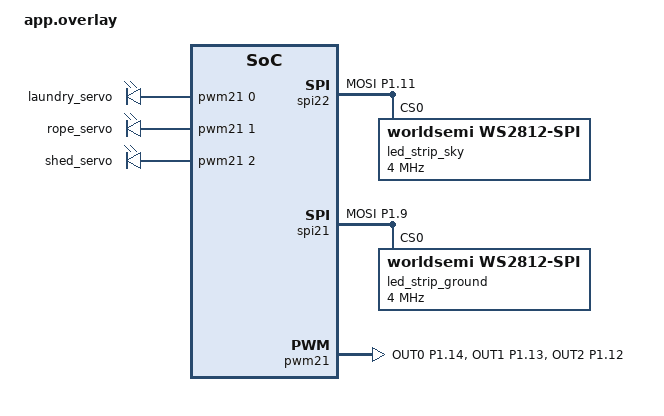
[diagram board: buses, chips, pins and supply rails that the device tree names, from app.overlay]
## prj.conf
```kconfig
CONFIG_GPIO=y

CONFIG_SPI=y
CONFIG_LED_STRIP=y

CONFIG_SERIAL=y
CONFIG_CONSOLE=y
CONFIG_UART_CONSOLE=y
CONFIG_STDOUT_CONSOLE=y
CONFIG_CONSOLE_SUBSYS=y
CONFIG_CONSOLE_GETLINE=y

CONFIG_ENTROPY_GENERATOR=y
CONFIG_TEST_RANDOM_GENERATOR=y

CONFIG_PWM=y
```

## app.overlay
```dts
#include <zephyr/dt-bindings/led/led.h>

&pinctrl {
    spi22_default: spi22_default {
        group1 {
            psels = <NRF_PSEL(SPIM_MOSI, 1, 11)>;
        };
    };

    spi21_default: spi21_default {
        group1 {
            psels = <NRF_PSEL(SPIM_MOSI, 1, 9)>;
        };
    };

    pwm21_default: pwm21_default {
        group1 {
            psels = <NRF_PSEL(PWM_OUT0, 1, 14)>,
                    <NRF_PSEL(PWM_OUT1, 1, 13)>,
                    <NRF_PSEL(PWM_OUT2, 1, 12)>;
        };
    };
};

&spi22 {
    compatible = "nordic,nrf-spim";
    status = "okay";
    pinctrl-0 = <&spi22_default>;
    pinctrl-names = "default";

    led_strip_sky: ws2812@0 {
        compatible = "worldsemi,ws2812-spi";
        reg = <0>;
        spi-max-frequency = <4000000>;
        chain-length = <21>;
        spi-one-frame = <0x70>;
        spi-zero-frame = <0x40>;
        color-mapping = <LED_COLOR_ID_GREEN
        LED_COLOR_ID_RED
        LED_COLOR_ID_BLUE>;
    };
};

&spi21 {
    compatible = "nordic,nrf-spim";
    status = "okay";
    pinctrl-0 = <&spi21_default>;
    pinctrl-names = "default";

    led_strip_ground: ws2812@0 {
        compatible = "worldsemi,ws2812-spi";
        reg = <0>;
        spi-max-frequency = <4000000>;
        chain-length = <30>;
        spi-one-frame = <0x70>;
        spi-zero-frame = <0x40>;
        color-mapping = <LED_COLOR_ID_GREEN
                         LED_COLOR_ID_RED
                         LED_COLOR_ID_BLUE>;
    };
};

&pwm21 {
    status = "okay";
    pinctrl-0 = <&pwm21_default>;
    pinctrl-names = "default";
};

/ {
    pwm_devices {
        compatible = "pwm-leds";

        laundry_servo: laundry_servo {
            pwms = <&pwm21 0 PWM_MSEC(20) PWM_POLARITY_NORMAL>;
        };
        rope_servo: rope_servo {
            pwms = <&pwm21 1 PWM_MSEC(20) PWM_POLARITY_NORMAL>;
        };
        shed_servo: shed_servo {
            pwms = <&pwm21 2 PWM_MSEC(20) PWM_POLARITY_NORMAL>;
        };
    };

    aliases {
        led-strip-sky = &led_strip_sky;
        led-strip-ground = &led_strip_ground;
        laundry-servo = &laundry_servo;
        rope-servo = &rope_servo;
        shed-servo = &shed_servo;
    };
};
```

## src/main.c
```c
#include <zephyr/kernel.h>
#include <zephyr/drivers/led_strip.h>
#include <zephyr/drivers/pwm.h>
#include <zephyr/console/console.h>
#include <zephyr/random/random.h>
#include <string.h>
#include <stdio.h>
#include <ctype.h>
#include <math.h>

#define STRIP_NODE DT_ALIAS(led_strip_sky)
#define STRIP_NUM_LEDS 21
#define NUM_CLOUDS 19
#define SUN_START_IDX 19
#define GROUND_STRIP_NODE DT_ALIAS(led_strip_ground)
#define GROUND_STRIP_NUM_LEDS 30
#define GROUND_PATH_LEDS 15
#define GROUND_SEA_LEDS 15
#define GROUND_TOTAL_LEDS (GROUND_PATH_LEDS + GROUND_SEA_LEDS)

static const struct pwm_dt_spec laundry_servo = PWM_DT_SPEC_GET(DT_ALIAS(laundry_servo));
static const struct pwm_dt_spec rope_servo = PWM_DT_SPEC_GET(DT_ALIAS(rope_servo));
static const struct pwm_dt_spec shed_servo = PWM_DT_SPEC_GET(DT_ALIAS(shed_servo));

static struct led_rgb pixels[STRIP_NUM_LEDS];
static struct led_rgb ground_pixels[GROUND_STRIP_NUM_LEDS];

static uint8_t cloud_map[NUM_CLOUDS] = {0};

volatile int sun_power = 255;
volatile int storm_intensity = 0;
volatile int path_light_intensity = 255;

volatile bool laundry_open = true;
volatile bool pull_rope = true;
volatile bool shed_close = false;

#define SERVO_PERIOD_NS PWM_MSEC(20)
#define SERVO_MIN_PULSE_NS 600000U	/* 0.6 ms */
#define SERVO_MAX_PULSE_NS 2400000U /* 2.4 ms */

void weather_led_thread(void *p1, void *p2, void *p3)
{
	const struct device *const strip = DEVICE_DT_GET(STRIP_NODE);

	while (1)
	{
		/* 1. OBLICZANIE SŁOŃCA (Im większa burza, tym słońce słabsze) */
		/* Wewnętrznie liczymy wartości procentowe do istniejącej logiki burzy. */
		int storm_pct = (storm_intensity * 100) / 255;

		/* Wzór: Moc słońca * (255 - siła burzy) / 255 */
		int effective_sun = (sun_power * (255 - storm_intensity)) / 255;
		uint8_t sun_val = (uint8_t)effective_sun;

		/* Rysowanie słońca (żółty kolor: Czerwony + Zielony) */
		pixels[SUN_START_IDX].r = sun_val;
		pixels[SUN_START_IDX].g = sun_val;
		pixels[SUN_START_IDX].b = 0;

		pixels[SUN_START_IDX + 1].r = sun_val;
		pixels[SUN_START_IDX + 1].g = sun_val;
		pixels[SUN_START_IDX + 1].b = 0;

		/* 2. LOGIKA CHMUR I BURZY */
		bool lightning_strike = false;

		if (storm_pct > 0)
		{
			/* Wygaszanie poprzednich kropel (efekt Glitter) */
			for (int i = 0; i < NUM_CLOUDS; i++)
			{
				cloud_map[i] = (cloud_map[i] * 75) / 100; /* Dość szybkie wygaszanie */
			}

			/* Losowanie nowej kropli. Szansa zależy wprost od storm_pct */
			int drop_chance = storm_pct / 2; /* max 50% szans co klatkę */
			if ((sys_rand32_get() % 100) < drop_chance)
			{
				int random_led = sys_rand32_get() % NUM_CLOUDS;
				cloud_map[random_led] = 255;
			}

			/* Logika Piorunów (Tylko jeśli burza > 50%) */
			if (storm_pct > 50)
			{
				/* Im bliżej 100%, tym większa szansa na piorun */
				int lightning_chance = (storm_pct - 50) / 5;
				if ((sys_rand32_get() % 100) < lightning_chance)
				{
					lightning_strike = true;
				}
			}
		}

		/* 3. RYSOWANIE CHMUR NA PODSTAWIE OBLICZEŃ */
		for (int i = 0; i < NUM_CLOUDS; i++)
		{
			if (lightning_strike)
			{
				/* Oślepiający błysk pioruna zasłania wszystko inne */
				pixels[i].r = 255;
				pixels[i].g = 255;
				pixels[i].b = 255;
			}
			else if (storm_pct > 0)
			{
				/* Tryb burzy: Kropelki deszczu przechodzące w granat (Glitter) */
				pixels[i].r = cloud_map[i] / 5; /* Mało czerwonego */
				pixels[i].g = cloud_map[i] / 2; /* Trochę zielonego */
				pixels[i].b = cloud_map[i];		/* Dużo niebieskiego */
			}
			else
			{
				/* Czyste niebo: Delikatny biały zależny od mocy słońca */
				/* Dzielimy tak, aby maksymalna moc słońca dawała wartość 50. */
				uint8_t gentle_white = (sun_power * 50) / 255;
				pixels[i].r = gentle_white;
				pixels[i].g = gentle_white;
				pixels[i].b = gentle_white;
			}
		}

		/* 4. Wysłanie zbuforowanej klatki do fizycznych diod */
		led_strip_update_rgb(strip, pixels, STRIP_NUM_LEDS);

		k_msleep(30); /* Odświeżanie ok. 33 FPS */
	}
}
K_THREAD_DEFINE(weather_thread, 2048, weather_led_thread, NULL, NULL, NULL, 5, 0, 0);

void ground_led_thread(void *p1, void *p2, void *p3)
{
	const struct device *const ground_strip = DEVICE_DT_GET(GROUND_STRIP_NODE);
	if (!device_is_ready(ground_strip))
		return;

	uint32_t frame = 0;

	while (1)
	{
		/* 1. SEKCJA: ZAAWANSOWANE POCHODNIE (0-14) */
		for (int i = 0; i < GROUND_PATH_LEDS; i++)
		{
			/* 'time' dla każdej diody jest lekko przesunięty (i * 0.5f),
			   aby każda pochodnia żyła własnym życiem */
			float slow_time = frame / 15.0f;
			float individual_offset = i * 0.8f;

			/* 1. WOLNE MIGOTANIE (Amplituda jasności) */
			// Sinusoida o małej częstotliwości + szum losowy
			float flicker = (sinf(slow_time + individual_offset) + 1.0f) / 2.0f;
			// Dodajemy mały szum (10%), żeby nie było zbyt idealnie
			float noise = (sys_rand32_get() % 100) / 1000.0f;
			float intensity_mod = 0.7f + (flicker * 0.2f) + noise;

			/* 2. ZMIANA KOLORU (Czerwony <-> Żółty) */
			// Wolniejszy sinus sterujący ilością zielonego (G)
			float color_cycle = (sinf(slow_time * 0.6f + individual_offset) + 1.0f) / 2.0f;

			int base_br = path_light_intensity;
			int br = (int)(base_br * intensity_mod);
			if (br > 255)
				br = 255;

			/* Mapowanie kolorów:
			   Czerwony (R): Zawsze wysoki (baza ognia)
			   Zielony (G): Od 5% (czerwień) do 60% (żółty) jasności bazy
			*/
			ground_pixels[i].r = (uint8_t)br;
			// Modulujemy zielony: 0.05f to głęboka czerwień, 0.5f to mocny żółty
			float g_factor = 0.05f + (color_cycle * 0.45f);
			ground_pixels[i].g = (uint8_t)(br * g_factor);
			ground_pixels[i].b = (uint8_t)(br / 40); // Śladowe ilości niebieskiego
		}

		/* 2. SEKCJA: FALUJĄCE MORZE (15-20) */
		for (int i = 0; i < GROUND_SEA_LEDS; i++)
		{
			int idx = GROUND_PATH_LEDS + i;

			/* Obliczamy falowanie za pomocą sinusa */
			/* frame / 10.0f kontroluje prędkość, i / 2.0f kontroluje gęstość fal */
			float wave = sinf((frame / 10.0f) + (i / 1.5f));

			// Przeskalowanie z zakresu -1..1 na 25..255 dla błękitu
			uint8_t blue_val = (uint8_t)((wave + 1.0f) * 115.0f + 25.0f);

			ground_pixels[idx].r = 0;
			ground_pixels[idx].g = blue_val / 3; // Trochę cyjanu dla realizmu
			ground_pixels[idx].b = blue_val;
		}

		led_strip_update_rgb(ground_strip, ground_pixels, GROUND_TOTAL_LEDS);

		frame++;
		k_msleep(20);
	}
}
K_THREAD_DEFINE(ground_thread, 2048, ground_led_thread, NULL, NULL, NULL, 5, 0, 0);

void laundry_servo_thread(void *p1, void *p2, void *p3)
{
	if (!pwm_is_ready_dt(&laundry_servo))
		return;

	bool last_state = !laundry_open;

	while (1)
	{
		if (laundry_open != last_state)
		{
			uint32_t pos = laundry_open ? 0 : 50;
			uint32_t pulse = SERVO_MIN_PULSE_NS + (pos * (SERVO_MAX_PULSE_NS - SERVO_MIN_PULSE_NS)) / 100U;
			pwm_set_pulse_dt(&laundry_servo, pulse);

			last_state = laundry_open;
		}

		k_msleep(100);
	}
}
K_THREAD_DEFINE(laundry_tid, 1024, laundry_servo_thread, NULL, NULL, NULL, 6, 0, 0);

void shed_servo_thread(void *p1, void *p2, void *p3)
{
	if (!pwm_is_ready_dt(&shed_servo))
		return;

	bool last_state = !shed_close;

	while (1)
	{
		if (shed_close != last_state)
		{
			uint32_t pos = shed_close ? 0 : 32;
			uint32_t pulse = SERVO_MIN_PULSE_NS + (pos * (SERVO_MAX_PULSE_NS - SERVO_MIN_PULSE_NS)) / 100U;
			pwm_set_pulse_dt(&shed_servo, pulse);

			last_state = shed_close;
		}

		k_msleep(100);
	}
}
K_THREAD_DEFINE(shed_tid, 1024, shed_servo_thread, NULL, NULL, NULL, 6, 0, 0);

#define ROPE_FPS_MS 20
#define ROPE_MIN_POS 40		// Prędkość max w dół (Rozwijanie)
#define ROPE_NEUTRAL_POS 50 // Zatrzymanie silnika
#define ROPE_MAX_POS 60		// Prędkość max w górę (Zwijanie)

#define ROPE_RAMP_TIME_MS 2000 // Czas rozpędzania i hamowania (2 s)
#define ROPE_HOLD_TIME_MS 2500 // Czas wyciągania z pełną prędkością (2 s)

void rope_servo_thread(void *p1, void *p2, void *p3)
{
	if (!pwm_is_ready_dt(&rope_servo))
		return;

	bool is_animating = false;
	bool last_state = pull_rope;

	int anim_step = 0;
	int ramp_steps = ROPE_RAMP_TIME_MS / ROPE_FPS_MS;
	int hold_steps = ROPE_HOLD_TIME_MS / ROPE_FPS_MS;
	int total_steps = (ramp_steps * 2) + hold_steps; // Faza 1 + Faza 2 + Faza 3

	float target_speed = ROPE_NEUTRAL_POS;

	/* Wymuszenie fizycznego zatrzymania wyciągarki przy starcie systemu */
	uint32_t init_pulse = SERVO_MIN_PULSE_NS +
						  (ROPE_NEUTRAL_POS * (SERVO_MAX_PULSE_NS - SERVO_MIN_PULSE_NS)) / 100U;
	pwm_set_pulse_dt(&rope_servo, init_pulse);

	while (1)
	{
		// Wykrywamy start nowej sekwencji
		if (!is_animating && pull_rope != last_state)
		{
			is_animating = true;
			anim_step = 0;
			target_speed = pull_rope ? ROPE_MAX_POS : ROPE_MIN_POS;
			last_state = pull_rope;
		}

		if (is_animating)
		{
			float current_speed = ROPE_NEUTRAL_POS;

			if (anim_step < ramp_steps)
			{
				/* --- FAZA 1: Rozpędzanie (Smoothstep) --- */
				float progress = (float)anim_step / ramp_steps;
				float ease = progress * progress * (3.0f - 2.0f * progress);
				current_speed = ROPE_NEUTRAL_POS + (target_speed - ROPE_NEUTRAL_POS) * ease;
			}
			else if (anim_step < ramp_steps + hold_steps)
			{
				/* --- FAZA 2: Praca (Utrzymanie prędkości) --- */
				current_speed = target_speed;
			}
			else
			{
				/* --- FAZA 3: Hamowanie (Smoothstep do zera) --- */
				float progress = (float)(anim_step - ramp_steps - hold_steps) / ramp_steps;
				float ease = progress * progress * (3.0f - 2.0f * progress);
				// Rozpoczynamy od target_speed i powoli zdejmujemy wartość aż do NEUTRAL
				current_speed = target_speed + (ROPE_NEUTRAL_POS - target_speed) * ease;
			}

			/* Wysłanie obliczonej prędkości do sprzętu */
			uint32_t pulse = SERVO_MIN_PULSE_NS +
							 ((uint32_t)current_speed * (SERVO_MAX_PULSE_NS - SERVO_MIN_PULSE_NS)) / 100U;
			pwm_set_pulse_dt(&rope_servo, pulse);

			anim_step++;

			/* Zakończenie sekwencji i twarde wymuszenie stanu neutralnego (dla pewności) */
			if (anim_step >= total_steps)
			{
				is_animating = false;
				pulse = SERVO_MIN_PULSE_NS + (ROPE_NEUTRAL_POS * (SERVO_MAX_PULSE_NS - SERVO_MIN_PULSE_NS)) / 100U;
				pwm_set_pulse_dt(&rope_servo, pulse);
			}

			k_msleep(ROPE_FPS_MS);
		}
		else
		{
			k_msleep(100);
		}
	}
}
K_THREAD_DEFINE(rope_tid, 1024, rope_servo_thread, NULL, NULL, NULL, 4, 0, 0);

// int main(void)
// {
// 	console_init();
// 	printf("Sterowanie: [W/S] Sun, [E/D] Storm, [A/Q] Path, [Z] Loundry, [X] Pull Rope, [C] Shed\n");

// 	while (1)
// 	{
// 		uint8_t c = console_getchar();
// 		c = (uint8_t)tolower(c);

// 		if (c == 'w')
// 			sun_power = MIN(sun_power + 10, 255);
// 		if (c == 's')
// 			sun_power = MAX(sun_power - 10, 0);
// 		if (c == 'e')
// 			storm_intensity = MIN(storm_intensity + 10, 255);
// 		if (c == 'd')
// 			storm_intensity = MAX(storm_intensity - 10, 0);
// 		if (c == 'a')
// 			path_light_intensity = MIN(path_light_intensity + 10, 255);
// 		if (c == 'q')
// 			path_light_intensity = MAX(path_light_intensity - 10, 0);

// 		if (c == 'z')
// 			laundry_open = !laundry_open;
// 		if (c == 'x')
// 			pull_rope = !pull_rope;
// 		if (c == 'c')
// 			shed_close = !shed_close;

// 		if (strchr("wsedaqzxc", c) != NULL)
// 		{
// 			printf("Stan: Sun:%d, Storm:%d, Path:%d, Lndry:%s, Rope:%s, Shed:%s\n",
// 				   sun_power, storm_intensity, path_light_intensity,
// 				   laundry_open ? "OPEN" : "CLOSED",
// 				   pull_rope ? "PULLING" : "RELEASED",
// 				   shed_close ? "CLOSED" : "OPEN");
// 		}
// 	}
// 	return 0;
// }

int main(void)
{
	/* Inicjalizacja bufora dla całych linii tekstu */
	console_getline_init();
	printf("\n--- Diorama UART Controller Gotowy ---\n");
	printf("Oczekuje na format: SUN,STORM,PATH,LAUNDRY,ROPE,SHED\n");

	while (1)
	{
		/* Czeka na całą linię tekstu zakończoną Enterem (\n) */
		char *line = console_getline();

		/* Zmienne tymczasowe dla parsera */
		int sun_tmp, storm_tmp, path_tmp, l_val, r_val, s_val;

		/* Parsowanie formatu: np. "100,50,75,1,0,1" */
		int parsed = sscanf(line, "%d,%d,%d,%d,%d,%d",
							&sun_tmp, &storm_tmp, &path_tmp,
							&l_val, &r_val, &s_val);

		if (parsed == 6)
		{
			/* Zapisujemy do zmiennych globalnych (volatile) */
			sun_power = sun_tmp;
			storm_intensity = storm_tmp;
			path_light_intensity = path_tmp;

			laundry_open = (l_val != 0);
			pull_rope = (r_val != 0);
			shed_close = (s_val != 0);

			/* Odsyłamy potwierdzenie do Pythona */
			printf("ACK: Sun:%d Storm:%d Path:%d Lndry:%d Rope:%d Shed:%d\n",
				   sun_power, storm_intensity, path_light_intensity,
				   laundry_open, pull_rope, shed_close);
		}
		else
		{
			printf("BLAD: Niezgodny format danych. Otrzymano: %s\n", line);
		}
	}
	return 0;
}
```
